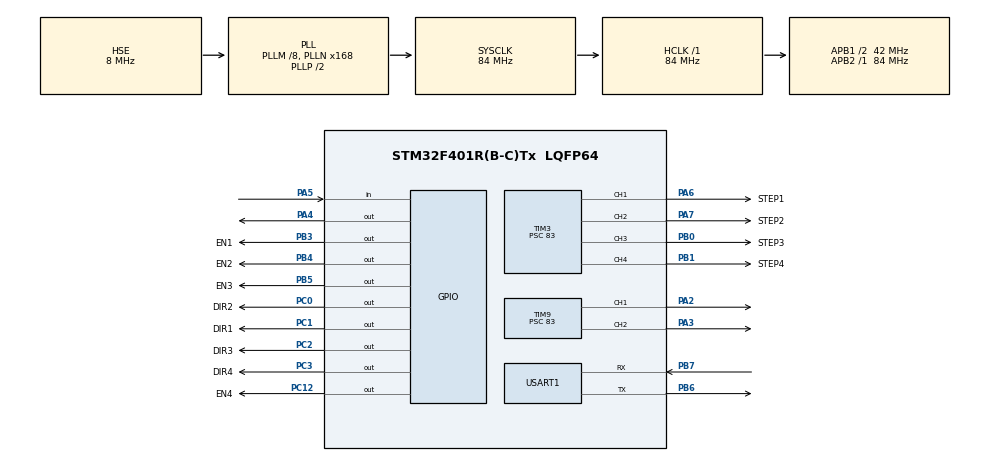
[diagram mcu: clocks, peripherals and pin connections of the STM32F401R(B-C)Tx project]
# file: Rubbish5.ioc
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Dma.Request0=USART1_RX
Dma.Request1=USART1_TX
Dma.USART1_RX.0.Direction=DMA_PERIPH_TO_MEMORY
Dma.USART1_RX.0.FIFOMode=DMA_FIFOMODE_DISABLE
Dma.USART1_RX.0.Instance=DMA2_Stream2
Dma.USART1_RX.0.MemDataAlignment=DMA_MDATAALIGN_BYTE
Dma.USART1_RX.0.MemInc=DMA_MINC_ENABLE
Dma.USART1_RX.0.Mode=DMA_NORMAL
Dma.USART1_RX.0.PeriphDataAlignment=DMA_PDATAALIGN_BYTE
Dma.USART1_RX.0.PeriphInc=DMA_PINC_DISABLE
Dma.USART1_RX.0.Priority=DMA_PRIORITY_LOW
Dma.USART1_TX.1.Direction=DMA_MEMORY_TO_PERIPH
Dma.USART1_TX.1.FIFOMode=DMA_FIFOMODE_DISABLE
Dma.USART1_TX.1.Instance=DMA2_Stream7
Dma.USART1_TX.1.MemDataAlignment=DMA_MDATAALIGN_BYTE
Dma.USART1_TX.1.MemInc=DMA_MINC_ENABLE
Dma.USART1_TX.1.Mode=DMA_NORMAL
Dma.USART1_TX.1.PeriphDataAlignment=DMA_PDATAALIGN_BYTE
Dma.USART1_TX.1.PeriphInc=DMA_PINC_DISABLE
Dma.USART1_TX.1.Priority=DMA_PRIORITY_LOW
Mcu.Family=STM32F4
Mcu.Name=STM32F401R(B-C)Tx
Mcu.Package=LQFP64
NVIC.DMA2_Stream2_IRQn=true\:0\:0\:true\:false\:true\:false\:true\:true
NVIC.DMA2_Stream7_IRQn=true\:0\:0\:false\:false\:true\:false\:true\:true
NVIC.PriorityGroup=NVIC_PRIORITYGROUP_4
NVIC.TIM1_BRK_TIM9_IRQn=true\:5\:0\:true\:false\:true\:true\:true\:true
NVIC.TIM1_UP_TIM10_IRQn=true\:4\:0\:true\:false\:true\:true\:true\:true
NVIC.TIM3_IRQn=true\:2\:0\:true\:false\:true\:true\:true\:true
NVIC.USART1_IRQn=true\:0\:0\:true\:false\:true\:true\:true\:true
PA13.Mode=Serial_Wire
PA13.Signal=SYS_JTMS-SWDIO
PA14.Mode=Serial_Wire
PA14.Signal=SYS_JTCK-SWCLK
PA2.Signal=S_TIM9_CH1
PA3.Signal=S_TIM9_CH2
PA4.Signal=GPIO_Output
PA5.Signal=GPIO_Input
PA6.GPIO_Label=STEP1
PA6.Signal=S_TIM3_CH1
PA7.GPIO_Label=STEP2
PA7.Signal=S_TIM3_CH2
PB0.GPIO_Label=STEP3
PB0.Signal=S_TIM3_CH3
PB1.GPIO_Label=STEP4
PB1.Signal=S_TIM3_CH4
PB3.GPIO_Label=EN1
PB3.Signal=GPIO_Output
PB4.GPIO_Label=EN2
PB4.Signal=GPIO_Output
PB5.GPIO_Label=EN3
PB5.Signal=GPIO_Output
PB6.Mode=Asynchronous
PB6.Signal=USART1_TX
PB7.Mode=Asynchronous
PB7.Signal=USART1_RX
PC0.GPIO_Label=DIR2
PC0.PinState=GPIO_PIN_SET
PC0.Signal=GPIO_Output
PC1.GPIO_Label=DIR1
PC1.PinState=GPIO_PIN_SET
PC1.Signal=GPIO_Output
PC12.GPIO_Label=EN4
PC12.Signal=GPIO_Output
PC2.GPIO_Label=DIR3
PC2.PinState=GPIO_PIN_SET
PC2.Signal=GPIO_Output
PC3.GPIO_Label=DIR4
PC3.PinState=GPIO_PIN_SET
PC3.Signal=GPIO_Output
PH0\ -\ OSC_IN.Mode=HSE-External-Clock-Source
PH0\ -\ OSC_IN.Signal=RCC_OSC_IN
PH1\ -\ OSC_OUT.Mode=HSE-External-Clock-Source
PH1\ -\ OSC_OUT.Signal=RCC_OSC_OUT
ProjectManager.HeapSize=0x200
ProjectManager.StackSize=0x400
ProjectManager.TargetToolchain=MDK-ARM V5.32
RCC.48MHZClocksFreq_Value=42000000
RCC.AHBFreq_Value=84000000
RCC.APB1CLKDivider=RCC_HCLK_DIV2
RCC.APB1Freq_Value=42000000
RCC.APB1TimFreq_Value=84000000
RCC.APB2Freq_Value=84000000
RCC.APB2TimFreq_Value=84000000
RCC.CortexFreq_Value=84000000
RCC.HCLKFreq_Value=84000000
RCC.HSE_VALUE=8000000
RCC.HSI_VALUE=16000000
RCC.LSE_VALUE=32768
RCC.PLLM=8
RCC.PLLN=168
RCC.PLLSourceVirtual=RCC_PLLSOURCE_HSE
RCC.SYSCLKFreq_VALUE=84000000
RCC.SYSCLKSource=RCC_SYSCLKSOURCE_PLLCLK
RCC.VCOOutputFreq_Value=168000000
SH.S_TIM3_CH1.0=TIM3_CH1,Output Compare1 CH1
SH.S_TIM3_CH2.0=TIM3_CH2,Output Compare2 CH2
SH.S_TIM3_CH3.0=TIM3_CH3,Output Compare3 CH3
SH.S_TIM3_CH4.0=TIM3_CH4,Output Compare4 CH4
SH.S_TIM9_CH1.0=TIM9_CH1,PWM Generation1 CH1
SH.S_TIM9_CH2.0=TIM9_CH2,PWM Generation2 CH2
TIM10.Period=99
TIM10.Prescaler=839
TIM3.Channel-Output\ Compare1\ CH1=TIM_CHANNEL_1
TIM3.Channel-Output\ Compare2\ CH2=TIM_CHANNEL_2
TIM3.Channel-Output\ Compare3\ CH3=TIM_CHANNEL_3
TIM3.Channel-Output\ Compare4\ CH4=TIM_CHANNEL_4
TIM3.OCMode_1=TIM_OCMODE_TOGGLE
TIM3.OCMode_2=TIM_OCMODE_TOGGLE
TIM3.OCMode_3=TIM_OCMODE_TOGGLE
TIM3.OCMode_4=TIM_OCMODE_TOGGLE
TIM3.Prescaler=83
TIM9.Channel-PWM\ Generation1\ CH1=TIM_CHANNEL_1
TIM9.Channel-PWM\ Generation2\ CH2=TIM_CHANNEL_2
TIM9.Period=19999
TIM9.Prescaler=83
USART1.VirtualMode=VM_ASYNC
VP_TIM10_VS_ClockSourceINT.Mode=Enable_Timer
VP_TIM3_VS_ClockSourceINT.Mode=Internal
VP_TIM9_VS_ClockSourceINT.Mode=Internal
board=custom

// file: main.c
/* USER CODE BEGIN Header */
/**
  ******************************************************************************
  * @file           : main.c
  * @brief          : Main program body
  ******************************************************************************
  * @attention
  *
  * Copyright (c) 2024 STMicroelectronics.
  * All rights reserved.
  *
  * This software is licensed under terms that can be found in the LICENSE file
  * in the root directory of this software component.
  * If no LICENSE file comes with this software, it is provided AS-IS.
  *
  ******************************************************************************
  */
/* USER CODE END Header */
#include "main.h"
#include "dma.h"
#include "tim.h"
#include "usart.h"
#include "gpio.h"

/* USER CODE BEGIN Includes */
#include "delay.h"
#include "sys.h"
#include "smoto.h"
#include "key.h"
#include "uart.h"
#include "servor.h"
#include "rubbish.h"
/* USER CODE END Includes */

/* USER CODE BEGIN PV */
extern uint8_t data;
extern uint32_t Diff;//存放捕获插插值
extern uint8_t MeasureFlag;//测量完成标志位，0未完成，1完成
extern uint8_t CapIndex;//捕获指示，0未开始，1完成捕获
extern uint32_t CapVal1;//存放第一次捕获值
extern uint32_t CapVal2;//存放第二次捕获值
extern uint32_t Distance;//距离值
/* USER CODE END PV */

void SystemClock_Config(void);

int main(void)
{

  /* MCU Configuration--------------------------------------------------------*/

  /* Reset of all peripherals, Initializes the Flash interface and the Systick. */
  HAL_Init();

  /* Configure the system clock */
  SystemClock_Config();

  /* Initialize all configured peripherals */
  MX_GPIO_Init();
  MX_DMA_Init();
  MX_USART1_UART_Init();
  MX_TIM9_Init();
  MX_TIM3_Init();
  MX_TIM10_Init();
  /* USER CODE BEGIN 2 */
	delay_init(84);
	Servor_Init(97,50);
	Smoto_Init();
	DMA_Init();

  /* USER CODE END 2 */

  /* Infinite loop */
  while (1)
  {

    /* USER CODE BEGIN 3 */
//	Smoto_Control_Single(0,SPR*1,100,80,60,1);
//	Smoto_Control_Single(1,SPR*1,100,80,60,1);
//	Smoto_Control_Single(2,SPR*1,100,80,60,1);
//	Smoto_Control_Single(3,SPR*1,100,80,60,1);
	  Servor12_Control(180,180);
  }
  /* USER CODE END 3 */
}

void SystemClock_Config(void)
{
  RCC_OscInitTypeDef RCC_OscInitStruct = {0};
  RCC_ClkInitTypeDef RCC_ClkInitStruct = {0};

  /** Configure the main internal regulator output voltage
  */
  __HAL_RCC_PWR_CLK_ENABLE();
  __HAL_PWR_VOLTAGESCALING_CONFIG(PWR_REGULATOR_VOLTAGE_SCALE2);

  /** Initializes the RCC Oscillators according to the specified parameters
  * in the RCC_OscInitTypeDef structure.
  */
  RCC_OscInitStruct.OscillatorType = RCC_OSCILLATORTYPE_HSE;
  RCC_OscInitStruct.HSEState = RCC_HSE_BYPASS;
  RCC_OscInitStruct.PLL.PLLState = RCC_PLL_ON;
  RCC_OscInitStruct.PLL.PLLSource = RCC_PLLSOURCE_HSE;
  RCC_OscInitStruct.PLL.PLLM = 8;
  RCC_OscInitStruct.PLL.PLLN = 168;
  RCC_OscInitStruct.PLL.PLLP = RCC_PLLP_DIV2;
  RCC_OscInitStruct.PLL.PLLQ = 4;
  if (HAL_RCC_OscConfig(&RCC_OscInitStruct) != HAL_OK)
  {
    Error_Handler();
  }

  /** Initializes the CPU, AHB and APB buses clocks
  */
  RCC_ClkInitStruct.ClockType = RCC_CLOCKTYPE_HCLK|RCC_CLOCKTYPE_SYSCLK
                              |RCC_CLOCKTYPE_PCLK1|RCC_CLOCKTYPE_PCLK2;
  RCC_ClkInitStruct.SYSCLKSource = RCC_SYSCLKSOURCE_PLLCLK;
  RCC_ClkInitStruct.AHBCLKDivider = RCC_SYSCLK_DIV1;
  RCC_ClkInitStruct.APB1CLKDivider = RCC_HCLK_DIV2;
  RCC_ClkInitStruct.APB2CLKDivider = RCC_HCLK_DIV1;

  if (HAL_RCC_ClockConfig(&RCC_ClkInitStruct, FLASH_LATENCY_2) != HAL_OK)
  {
    Error_Handler();
  }
}

/* USER CODE BEGIN 4 */
void HAL_TIM_PeriodElapsedCallback(TIM_HandleTypeDef *htim)//进入中断
{
    if(htim->Instance==TIM10)
	{
		Servor_start();
	}
}
//void HAL_TIM_OC_DelayElapsedCallback(TIM_HandleTypeDef *htim)
//{
//
//    __IO uint32_t tim_count = 0;														/* 用来保存定时器计数值 */
//    __IO uint32_t tmp = 0;																	/* 用来保存值 */
//    uint16_t new_step_delay = 0;                            /* 保存新（下）一个延时周期的变量 */
//    __IO static uint16_t last_accel_delay = 0;              /* 加速过程中最后一次延时（脉冲周期） */
//    __IO static uint32_t step_count = 0;                    /* 总移动步数计数器*/
//    __IO static int32_t rest = 0;                           /* 记录new_step_delay中的余数，提高下一步计算的精度 */
//    __IO static uint8_t i = 0;                              /* 因为定时器使用翻转模式，所以需要判断是否是两次中断，才能输出一个完整脉冲 */

//    if(htim->Instance==TIM3)
//    {
//
//        tim_count = __HAL_TIM_GET_COUNTER(&htim3);
//        tmp = tim_count + A_smoto_control.step_delay/2;               /* 整个C值里边是需要翻转两次的所以需要除以2 */
//        __HAL_TIM_SET_COMPARE(&htim3,TIM_CHANNEL_1,tmp);
//        i++;                                                /* 定时器中断次数计数值 */
//        if(i == 2)                                          /* 2次，说明已经输出一个完整脉冲 */
//        {
//            i = 0;                                          /* 清零定时器中断次数计数值 */
//            switch(A_smoto_control.run_state)                         /* 加减速曲线阶段 */
//            {
//            case STOP:
//                step_count = 0;                             /* 清零步数计数器 */
//                rest = 0;                                   /* 清零余值 */
//                /* 关闭通道*/
//                HAL_TIM_OC_Stop_IT(&htim3,TIM_CHANNEL_1);
//                ST1_EN(EN_OFF);
//                g_motion_sta = 0;                           /* 电机为停止状态  */
//                break;

//            case ACCEL:
//                g_add_pulse_count++;                        /* 只用于记录相对位置转动了多少度 */
//                step_count++;                               /* 步数加1*/
//                if(A_smoto_control.dir == CW)
//                {
//                    g_step_position++;                      /* 绝对位置加1  记录绝对位置转动多少度*/
//                }
//                else
//                {
//                    g_step_position--;                      /* 绝对位置减1*/
//                }
//                A_smoto_control.accel_count++;                        /* 加速计数值加1*/
//                new_step_delay = A_smoto_control.step_delay - (((2 *A_smoto_control.step_delay) + rest)/(4 * A_smoto_control.accel_count + 1));/* 计算新(下)一步脉冲周期(时间间隔) */
//                rest = ((2 * A_smoto_control.step_delay)+rest)%(4 * A_smoto_control.accel_count + 1);                                /* 计算余数，下次计算补上余数，减少误差 */
//                if(step_count >= A_smoto_control.decel_start)         /* 检查是否到了需要减速的步数 */
//                {
//                    A_smoto_control.accel_count = A_smoto_control.decel_val;    /* 加速计数值为减速阶段计数值的初始值 */
//                    A_smoto_control.run_state = DECEL;                /* 下个脉冲进入减速阶段 */
//                }
//                else if(new_step_delay <= A_smoto_control.min_delay)  /* 检查是否到达期望的最大速度 计数值越小速度越快，当你的速度和最大速度相等或更快就进入匀速*/
//                {
//                    last_accel_delay = new_step_delay;      /* 保存加速过程中最后一次延时（脉冲周期）*/
//                    new_step_delay = A_smoto_control.min_delay;       /* 使用min_delay（对应最大速度speed）*/
//                    rest = 0;                               /* 清零余值 */
//                    A_smoto_control.run_state = RUN;                  /* 设置为匀速运行状态 */
//                }
//                break;

//            case RUN:
//                g_add_pulse_count++;
//                step_count++;                               /* 步数加1 */
//                if(A_smoto_control.dir == CW)
//                {
//                    g_step_position++;                      /* 绝对位置加1 */
//                }
//                else
//                {
//                    g_step_position--;                      /* 绝对位置减1*/
//                }
//                new_step_delay = A_smoto_control.min_delay;           /* 使用min_delay（对应最大速度speed）*/
//                if(step_count >= A_smoto_control.decel_start)         /* 需要开始减速 */
//                {
//                    A_smoto_control.accel_count = A_smoto_control.decel_val;    /* 减速步数做为加速计数值 */
//                    new_step_delay = last_accel_delay;      /* 加阶段最后的延时做为减速阶段的起始延时(脉冲周期) */
//                    A_smoto_control.run_state = DECEL;                /* 状态改变为减速 */
//                }
//                break;

//            case DECEL:
//                step_count++;                               /* 步数加1 */
//                g_add_pulse_count++;
//                if(A_smoto_control.dir == CW)
//                {
//                    g_step_position++;                      /* 绝对位置加1 */
//                }
//                else
//                {
//                    g_step_position--;                      /* 绝对位置减1 */
//                }
//                A_smoto_control.accel_count++;
//                new_step_delay = A_smoto_control.step_delay - (((2 * A_smoto_control.step_delay) + rest)/(4 * A_smoto_control.accel_count + 1));  /* 计算新(下)一步脉冲周期(时间间隔) */
//                rest = ((2 * A_smoto_control.step_delay)+rest)%(4 * A_smoto_control.accel_count + 1);                                   /* 计算余数，下次计算补上余数，减少误差 */

//                /* 检查是否为最后一步 */
//                if(A_smoto_control.accel_count >= 0)                  /* 判断减速步数是否从负值加到0是的话 减速完成 */
//                {
//                    A_smoto_control.run_state = STOP;
//                }
//                break;
//            }
//            A_smoto_control.step_delay = new_step_delay;              /* 为下个(新的)延时(脉冲周期)赋值 */
//        }
//    }
//}
//void HAL_TIM_OC_DelayElapsedCallback(TIM_HandleTypeDef *htim)
//{
//
//    __IO uint32_t tim_count = 0;														/* 用来保存定时器计数值 */
//    __IO uint32_t tmp = 0;																	/* 用来保存值 */
//    uint16_t new_step_delay =             0;                            /* 保存新（下）一个延时周期的变量 */
//    __IO static uint16_t last_accel_delay = 0;              /* 加速过程中最后一次延时（脉冲周期） */
//    __IO static uint32_t step_count = 0;                    /* 总移动步数计数器*/
//    __IO static int32_t rest = 0;                           /* 记录new_step_delay中的余数，提高下一步计算的精度 */
//    __IO static uint8_t i = 0;                              /* 因为定时器使用翻转模式，所以需要判断是否是两次中断，才能输出一个完整脉冲 */

//    if(htim->Instance==TIM3)
//    {
//      if(htim->Channel==HAL_TIM_ACTIVE_CHANNEL_1)
//			{
//				__IO uint16_t count1=0;
//				count1 =__HAL_TIM_GET_COUNTER(&htim3);
//				__HAL_TIM_SET_COMPARE(&htim3,TIM_CHANNEL_1,count1+Toggle_Pulse1);
//			}
//		  if(htim->Channel==HAL_TIM_ACTIVE_CHANNEL_2)
//			{
//				__IO uint16_t count2=0;
//				count2 =__HAL_TIM_GET_COUNTER(&htim3);
//				__HAL_TIM_SET_COMPARE(&htim3,TIM_CHANNEL_2,count2+Toggle_Pulse2);
//			}
//			if(htim->Channel==HAL_TIM_ACTIVE_CHANNEL_3)
//			{
//				__IO uint16_t count3=0;
//				count3 =__HAL_TIM_GET_COUNTER(&htim3);
//				__HAL_TIM_SET_COMPARE(&htim3,TIM_CHANNEL_3,count3+Toggle_Pulse3);
//			}
//    }
//}

/* USER CODE END 4 */

void Error_Handler(void)
{
  __disable_irq();
  while (1)
  {
  }
}
